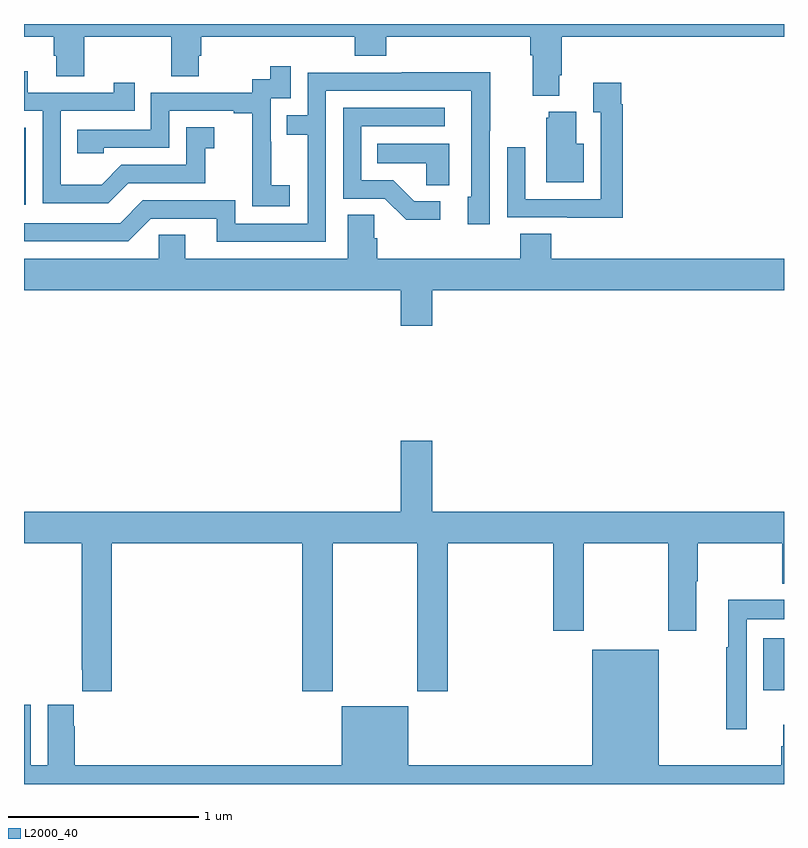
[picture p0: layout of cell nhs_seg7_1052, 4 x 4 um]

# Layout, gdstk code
import gdstk
lib = gdstk.Library(unit=1e-6, precision=1e-09)
def R(c, l, rs):  # rectangles x0, y0, x1, y1
    for r in rs: c.add(gdstk.rectangle(r[:2], r[2:], *l))
def P(c, l, *ps):  # polygons
    for p in ps: c.add(gdstk.Polygon(p, *l))
L2000_40 = (2000, 40)

nhs_seg7_1052 = lib.new_cell('nhs_seg7_1052')
R(nhs_seg7_1052, L2000_40, [(190.892,1014.494,191,1014.766), (187,1017.048,187.008,1017.453)])
P(nhs_seg7_1052, L2000_40, [(189.817,1017.73),(189.83,1017.73),(189.83,1017.932),(191,1017.932),(191,1018),(187,1018),(187,1017.932),(187.157,1017.932),(187.157,1017.834),(187.169,1017.834),(187.169,1017.724),(187.317,1017.724),(187.317,1017.932),(187.774,1017.932),(187.774,1017.724),(187.921,1017.724),(187.921,1017.834),(187.934,1017.834),(187.934,1017.932),(188.741,1017.932),(188.741,1017.833),(188.906,1017.833),(188.906,1017.932),(189.665,1017.932),(189.665,1017.836),(189.677,1017.836),(189.677,1017.623),(189.817,1017.623)],
  [(188.398,1017.151),(188.3,1017.151),(188.3,1017.38),(188.298,1017.38),(188.298,1017.609),(188.403,1017.609),(188.403,1017.778),(188.295,1017.778),(188.295,1017.708),(188.202,1017.708),(188.202,1017.639),(187.668,1017.639),(187.668,1017.444),(187.279,1017.444),(187.279,1017.321),(187.419,1017.321),(187.419,1017.348),(187.764,1017.348),(187.764,1017.543),(188.105,1017.543),(188.105,1017.531),(188.201,1017.531),(188.201,1017.247),(188.2,1017.247),(188.2,1017.041),(188.398,1017.041)],
  [(187.549,1017.162),(187.953,1017.162),(187.953,1017.347),(188.002,1017.347),(188.002,1017.457),(187.854,1017.457),(187.854,1017.258),(187.512,1017.258),(187.408,1017.154),(187.194,1017.154),(187.194,1017.543),(187.583,1017.543),(187.583,1017.691),(187.472,1017.691),(187.472,1017.639),(187.021,1017.639),(187.021,1017.751),(187,1017.751),(187,1017.543),(187.098,1017.543),(187.098,1017.057),(187.444,1017.057)],
  [(188.589,1017.648),(189.354,1017.648),(189.354,1017.09),(189.335,1017.09),(189.335,1016.946),(189.45,1016.946),(189.45,1017.439),(189.453,1017.439),(189.453,1017.746),(188.989,1017.746),(188.989,1017.744),(188.493,1017.744),(188.493,1017.519),(188.383,1017.519),(188.383,1017.418),(188.493,1017.418),(188.493,1016.949),(188.112,1016.949),(188.112,1017.072),(187.626,1017.072),(187.506,1016.952),(187,1016.952),(187,1016.856),(187.548,1016.856),(187.668,1016.976),(188.015,1016.976),(188.015,1016.853),(188.589,1016.853)],
  [(190.151,1017.578),(190.144,1017.578),(190.144,1017.691),(189.995,1017.691),(189.995,1017.535),(190.035,1017.535),(190.035,1017.078),(189.639,1017.078),(189.639,1017.352),(189.543,1017.352),(189.543,1016.982),(189.859,1016.982),(189.859,1016.981),(190.151,1016.981)],
  [(189.19,1017.066),(189.055,1017.066),(188.944,1017.177),(188.775,1017.177),(188.775,1017.462),(189.214,1017.462),(189.214,1017.558),(188.679,1017.558),(188.679,1017.081),(188.898,1017.081),(189.011,1016.969),(189.19,1016.969)],
  [(189.946,1017.37),(189.907,1017.37),(189.907,1017.538),(189.761,1017.538),(189.761,1017.507),(189.749,1017.507),(189.749,1017.167),(189.946,1017.167)],
  [(189.238,1017.37),(188.86,1017.37),(188.86,1017.266),(189.117,1017.266),(189.117,1017.151),(189.238,1017.151)],
  [(189.148,1016.6),(191,1016.6),(191,1016.764),(189.776,1016.764),(189.776,1016.897),(189.611,1016.897),(189.611,1016.764),(188.858,1016.764),(188.858,1016.873),(188.844,1016.873),(188.844,1016.996),(188.705,1016.996),(188.705,1016.764),(187.849,1016.764),(187.849,1016.891),(187.71,1016.891),(187.71,1016.764),(187,1016.764),(187,1016.6),(188.984,1016.6),(188.984,1016.412),(189.148,1016.412)],
  [(188.984,1015.807),(188.984,1015.432),(187,1015.432),(187,1015.268),(187.303,1015.268),(187.303,1014.601),(187.307,1014.601),(187.307,1014.489),(187.463,1014.489),(187.463,1015.268),(188.465,1015.268),(188.465,1014.489),(188.625,1014.489),(188.625,1015.268),(189.07,1015.268),(189.07,1014.489),(189.23,1014.489),(189.23,1015.268),(189.785,1015.268),(189.785,1014.807),(189.945,1014.807),(189.945,1015.268),(190.39,1015.268),(190.39,1014.807),(190.537,1014.807),(190.537,1015.066),(190.545,1015.066),(190.545,1015.268),(190.99,1015.268),(190.99,1015.055),(191,1015.055),(191,1015.432),(189.148,1015.432),(189.148,1015.807)],
  [(190.803,1014.866),(191,1014.866),(191,1014.97),(190.706,1014.97),(190.706,1014.719),(190.695,1014.719),(190.695,1014.288),(190.803,1014.288)],
  [(191,1014.313),(190.997,1014.313),(190.997,1014.198),(190.985,1014.198),(190.985,1014.1),(190.342,1014.1),(190.342,1014.706),(189.992,1014.706),(189.992,1014.1),(189.022,1014.1),(189.022,1014.409),(188.672,1014.409),(188.672,1014.1),(187.268,1014.1),(187.268,1014.305),(187.261,1014.305),(187.261,1014.418),(187.124,1014.418),(187.124,1014.1),(187.036,1014.1),(187.036,1014.418),(187,1014.418),(187,1014),(191,1014)])

lib.write_gds('nhs_seg7_1052.gds')
